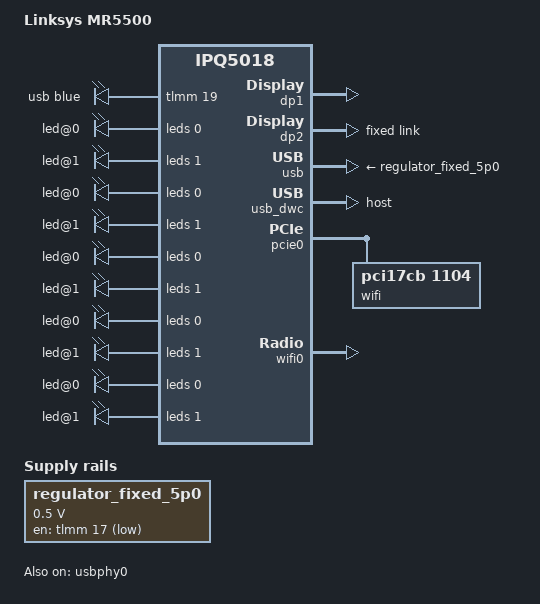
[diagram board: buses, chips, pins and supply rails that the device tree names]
// SPDX-License-Identifier: GPL-2.0-or-later OR MIT

/dts-v1/;

#include "ipq5018-mx-base.dtsi"

/ {
	model = "Linksys MR5500";
	compatible = "linksys,mr5500", "qcom,ipq5018";

	gpio-leds {
		compatible = "gpio-leds";

		usb {
			color = <LED_COLOR_ID_BLUE>;
			function = LED_FUNCTION_USB;
			gpios = <&tlmm 19 GPIO_ACTIVE_HIGH>;
			trigger-sources = <&usb_port1>;
			linux,default-trigger = "usbport";
		};
	};

	regulator_fixed_5p0: regulator-s0500 {
		compatible = "regulator-fixed";
		regulator-min-microvolt = <500000>;
		regulator-max-microvolt = <500000>;
		regulator-name = "fixed_5p0";
		gpio = <&tlmm 17 GPIO_ACTIVE_LOW>;
	};
};

&dp1 {
	status = "okay";
};

&dp2 {
	status = "okay";

	nvmem-cells = <&hw_mac_addr 0>;
	nvmem-cell-names = "mac-address";

	fixed-link {
		speed = <1000>;
		full-duplex;
	};
};

&switch1 {
	ports {
		port@1 {
			label = "lan1";
			phy-mode = "internal";

			leds {
				#address-cells = <1>;
				#size-cells = <0>;

				led@0 {
					reg = <0>;
					color = <LED_COLOR_ID_GREEN>;
					function = LED_FUNCTION_LAN;
					default-state = "keep";
				};

				led@1 {
					reg = <1>;
					color = <LED_COLOR_ID_AMBER>;
					function = LED_FUNCTION_LAN;
					default-state = "keep";
				};
			};
		};

		port@2 {
			label = "lan2";
			phy-mode = "internal";

			leds {
				#address-cells = <1>;
				#size-cells = <0>;

				led@0 {
					reg = <0>;
					color = <LED_COLOR_ID_GREEN>;
					function = LED_FUNCTION_LAN;
					default-state = "keep";
				};

				led@1 {
					reg = <1>;
					color = <LED_COLOR_ID_AMBER>;
					function = LED_FUNCTION_LAN;
					default-state = "keep";
				};
			};
		};

		port@3 {
			label = "lan3";
			phy-mode = "internal";

			leds {
				#address-cells = <1>;
				#size-cells = <0>;

				led@0 {
					reg = <0>;
					color = <LED_COLOR_ID_GREEN>;
					function = LED_FUNCTION_LAN;
					default-state = "keep";
				};

				led@1 {
					reg = <1>;
					color = <LED_COLOR_ID_AMBER>;
					function = LED_FUNCTION_LAN;
					default-state = "keep";
				};
			};
		};

		port@4 {
			label = "lan4";
			phy-mode = "internal";

			leds {
				#address-cells = <1>;
				#size-cells = <0>;

				led@0 {
					reg = <0>;
					color = <LED_COLOR_ID_GREEN>;
					function = LED_FUNCTION_LAN;
					default-state = "keep";
				};

				led@1 {
					reg = <1>;
					color = <LED_COLOR_ID_AMBER>;
					function = LED_FUNCTION_LAN;
					default-state = "keep";
				};
			};
		};

		port@5 {
			label = "wan";
			phy-mode = "internal";

			leds {
				#address-cells = <1>;
				#size-cells = <0>;

				led@0 {
					reg = <0>;
					color = <LED_COLOR_ID_GREEN>;
					function = LED_FUNCTION_WAN;
					default-state = "keep";
				};

				led@1 {
					reg = <1>;
					color = <LED_COLOR_ID_AMBER>;
					function = LED_FUNCTION_WAN;
					default-state = "keep";
				};
			};
		};

		port@6 {
			reg = <6>;
			label = "cpu";
			phy-mode = "sgmii";
			ethernet = <&dp2>;
			qca,sgmii-enable-pll;

			fixed-link {
				speed = <1000>;
				full-duplex;
			};
		};
	};
};

&usbphy0 {
	status = "okay";

	vdd-supply = <&regulator_fixed_5p0>;
};

&usb {
	status = "okay";

	vbus-supply = <&regulator_fixed_5p0>;
};

&usb_dwc {
	#address-cells = <1>;
	#size-cells = <0>;
	dr_mode = "host";

	usb_port1: port@1 {
		reg = <1>;
		#trigger-source-cells = <0>;
	};
};

&pcie0 {
	status = "okay";
	perst-gpios = <&tlmm 15 GPIO_ACTIVE_LOW>;

	pcie@0 {
		wifi@0,0 {
			status = "okay";
			compatible = "pci17cb,1104";
			qcom,ath11k-fw-memory-mode = <1>;
			qcom,ath11k-calibration-variant = "Linksys-MR5500";
			reg = <0x00010000 0 0 0 0>;
		};
	};
};

&wifi0 {
	// IPQ5018
	status = "okay";
	qcom,ath11k-calibration-variant = "Linksys-MR5500";
};
